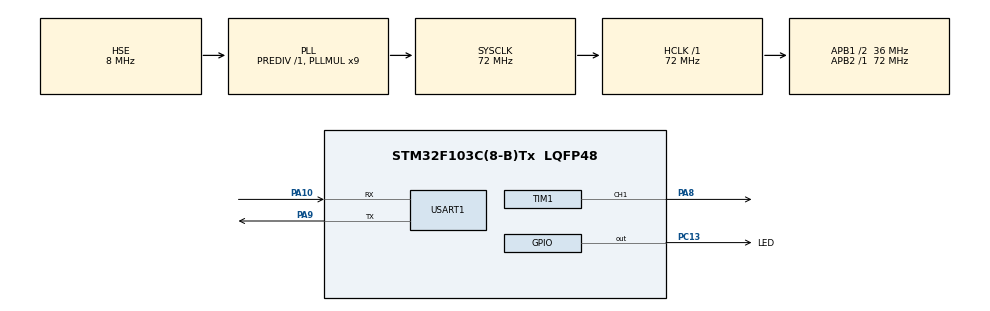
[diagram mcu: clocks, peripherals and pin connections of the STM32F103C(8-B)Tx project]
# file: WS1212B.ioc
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Dma.Request0=TIM1_CH1
Dma.TIM1_CH1.0.Direction=DMA_MEMORY_TO_PERIPH
Dma.TIM1_CH1.0.Instance=DMA1_Channel2
Dma.TIM1_CH1.0.MemDataAlignment=DMA_MDATAALIGN_HALFWORD
Dma.TIM1_CH1.0.MemInc=DMA_MINC_ENABLE
Dma.TIM1_CH1.0.Mode=DMA_NORMAL
Dma.TIM1_CH1.0.PeriphDataAlignment=DMA_PDATAALIGN_HALFWORD
Dma.TIM1_CH1.0.PeriphInc=DMA_PINC_DISABLE
Dma.TIM1_CH1.0.Priority=DMA_PRIORITY_HIGH
FREERTOS.Tasks01=MainTask,0,64,Main_Task,Default,NULL,Dynamic,NULL,NULL;CircularRing,-3,64,CircularRing_Task,Default,NULL,Dynamic,NULL,NULL;HeartBeat,-3,64,HeartBeat_Task,Default,NULL,Dynamic,NULL,NULL;AllColors,-3,64,AllColors_Task,Default,NULL,Dynamic,NULL,NULL;ColorWheel,-3,64,ColorWheel_Task,Default,NULL,Dynamic,NULL,NULL;PatternMove,-3,64,PatternMove_Task,Default,NULL,Dynamic,NULL,NULL;FullEmpty,-3,64,FullEmpty_Task,Default,NULL,Dynamic,NULL,NULL;AlternateColors,-3,64,AlternateColors_Task,Default,NULL,Dynamic,NULL,NULL
FREERTOS.configMINIMAL_STACK_SIZE=64
Mcu.Family=STM32F1
Mcu.Name=STM32F103C(8-B)Tx
Mcu.Package=LQFP48
NVIC.DMA1_Channel2_IRQn=true\:5\:0\:false\:false\:true\:true\:false\:true\:true
NVIC.PriorityGroup=NVIC_PRIORITYGROUP_4
NVIC.TIM1_BRK_IRQn=true\:5\:0\:false\:false\:true\:true\:true\:true\:true
NVIC.TIM1_UP_IRQn=true\:5\:0\:false\:false\:true\:true\:true\:true\:true
NVIC.TIM2_IRQn=true\:15\:0\:false\:false\:true\:false\:true\:true\:true
NVIC.TimeBase=TIM2_IRQn
NVIC.TimeBaseIP=TIM2
PA10.Mode=Asynchronous
PA10.Signal=USART1_RX
PA13.Mode=Serial_Wire
PA13.Signal=SYS_JTMS-SWDIO
PA14.Mode=Serial_Wire
PA14.Signal=SYS_JTCK-SWCLK
PA8.Signal=S_TIM1_CH1
PA9.Mode=Asynchronous
PA9.Signal=USART1_TX
PC13-TAMPER-RTC.GPIO_Label=LED
PC13-TAMPER-RTC.Signal=GPIO_Output
PC13-TAMPER-RTC.Stacked=true
PD0-OSC_IN.Mode=HSE-External-Oscillator
PD0-OSC_IN.Signal=RCC_OSC_IN
PD1-OSC_OUT.Mode=HSE-External-Oscillator
PD1-OSC_OUT.Signal=RCC_OSC_OUT
ProjectManager.HeapSize=0x200
ProjectManager.StackSize=0x400
ProjectManager.TargetToolchain=MDK-ARM V5.32
RCC.AHBFreq_Value=72000000
RCC.APB1CLKDivider=RCC_HCLK_DIV2
RCC.APB1Freq_Value=36000000
RCC.APB1TimFreq_Value=72000000
RCC.APB2Freq_Value=72000000
RCC.APB2TimFreq_Value=72000000
RCC.HCLKFreq_Value=72000000
RCC.PLLMUL=RCC_PLL_MUL9
RCC.PLLSourceVirtual=RCC_PLLSOURCE_HSE
RCC.SYSCLKFreq_VALUE=72000000
RCC.SYSCLKSource=RCC_SYSCLKSOURCE_PLLCLK
RCC.USBFreq_Value=72000000
SH.S_TIM1_CH1.0=TIM1_CH1,PWM Generation1 CH1
TIM1.Channel-PWM\ Generation1\ CH1=TIM_CHANNEL_1
TIM1.Period=90-1
USART1.VirtualMode=VM_ASYNC
VP_FREERTOS_VS_CMSIS_V1.Mode=CMSIS_V1
VP_SYS_VS_tim2.Mode=TIM2
VP_TIM1_VS_ClockSourceINT.Mode=Internal
board=custom

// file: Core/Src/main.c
/* USER CODE BEGIN Header */
/**
  ******************************************************************************
  * @file           : main.c
  * @brief          : Main program body
  ******************************************************************************
  * @attention
  *
  * Copyright (c) 2022 STMicroelectronics.
  * All rights reserved.
  *
  * This software is licensed under terms that can be found in the LICENSE file
  * in the root directory of this software component.
  * If no LICENSE file comes with this software, it is provided AS-IS.
  *
  ******************************************************************************
  */
/* USER CODE END Header */
#include "main.h"
#include "cmsis_os.h"
#include "dma.h"
#include "tim.h"
#include "usart.h"
#include "gpio.h"

void SystemClock_Config(void);
void MX_FREERTOS_Init(void);

int main(void)
{

  /* MCU Configuration--------------------------------------------------------*/

  /* Reset of all peripherals, Initializes the Flash interface and the Systick. */
  HAL_Init();

  /* Configure the system clock */
  SystemClock_Config();

  /* Initialize all configured peripherals */
  MX_GPIO_Init();
  MX_DMA_Init();
  MX_USART1_UART_Init();
  MX_TIM1_Init();

  /* Call init function for freertos objects (in freertos.c) */
  MX_FREERTOS_Init();

  /* Start scheduler */
  osKernelStart();

  /* We should never get here as control is now taken by the scheduler */
  /* Infinite loop */
  while (1)
  {

  }
}

void SystemClock_Config(void)
{
  RCC_OscInitTypeDef RCC_OscInitStruct = {0};
  RCC_ClkInitTypeDef RCC_ClkInitStruct = {0};

  /** Initializes the RCC Oscillators according to the specified parameters
  * in the RCC_OscInitTypeDef structure.
  */
  RCC_OscInitStruct.OscillatorType = RCC_OSCILLATORTYPE_HSE;
  RCC_OscInitStruct.HSEState = RCC_HSE_ON;
  RCC_OscInitStruct.HSEPredivValue = RCC_HSE_PREDIV_DIV1;
  RCC_OscInitStruct.HSIState = RCC_HSI_ON;
  RCC_OscInitStruct.PLL.PLLState = RCC_PLL_ON;
  RCC_OscInitStruct.PLL.PLLSource = RCC_PLLSOURCE_HSE;
  RCC_OscInitStruct.PLL.PLLMUL = RCC_PLL_MUL9;
  if (HAL_RCC_OscConfig(&RCC_OscInitStruct) != HAL_OK)
  {
    Error_Handler();
  }

  /** Initializes the CPU, AHB and APB buses clocks
  */
  RCC_ClkInitStruct.ClockType = RCC_CLOCKTYPE_HCLK|RCC_CLOCKTYPE_SYSCLK
                              |RCC_CLOCKTYPE_PCLK1|RCC_CLOCKTYPE_PCLK2;
  RCC_ClkInitStruct.SYSCLKSource = RCC_SYSCLKSOURCE_PLLCLK;
  RCC_ClkInitStruct.AHBCLKDivider = RCC_SYSCLK_DIV1;
  RCC_ClkInitStruct.APB1CLKDivider = RCC_HCLK_DIV2;
  RCC_ClkInitStruct.APB2CLKDivider = RCC_HCLK_DIV1;

  if (HAL_RCC_ClockConfig(&RCC_ClkInitStruct, FLASH_LATENCY_2) != HAL_OK)
  {
    Error_Handler();
  }
}

void HAL_TIM_PeriodElapsedCallback(TIM_HandleTypeDef *htim)
{
  if (htim->Instance == TIM2) {
    HAL_IncTick();
  }
}

void Error_Handler(void)
{
  __disable_irq();
  while (1)
  {
  }
}

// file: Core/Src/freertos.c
/* USER CODE BEGIN Header */
/**
  ******************************************************************************
  * File Name          : freertos.c
  * Description        : Code for freertos applications
  ******************************************************************************
  * @attention
  *
  * Copyright (c) 2022 STMicroelectronics.
  * All rights reserved.
  *
  * This software is licensed under terms that can be found in the LICENSE file
  * in the root directory of this software component.
  * If no LICENSE file comes with this software, it is provided AS-IS.
  *
  ******************************************************************************
  */
/* USER CODE END Header */

#include "FreeRTOS.h"
#include "task.h"
#include "main.h"
#include "cmsis_os.h"

/* USER CODE BEGIN Includes */
#include "stripEffects.h"
/* USER CODE END Includes */

osThreadId MainTaskHandle;
osThreadId CircularRingHandle;
osThreadId HeartBeatHandle;
osThreadId AllColorsHandle;
osThreadId ColorWheelHandle;
osThreadId PatternMoveHandle;
osThreadId FullEmptyHandle;
osThreadId AlternateColorsHandle;

void Main_Task(void const * argument);
void CircularRing_Task(void const * argument);
void HeartBeat_Task(void const * argument);
void AllColors_Task(void const * argument);
void ColorWheel_Task(void const * argument);
void PatternMove_Task(void const * argument);
void FullEmpty_Task(void const * argument);
void AlternateColors_Task(void const * argument);

void MX_FREERTOS_Init(void); /* (MISRA C 2004 rule 8.1) */

/* GetIdleTaskMemory prototype (linked to static allocation support) */
void vApplicationGetIdleTaskMemory( StaticTask_t **ppxIdleTaskTCBBuffer, StackType_t **ppxIdleTaskStackBuffer, uint32_t *pulIdleTaskStackSize );

/* USER CODE BEGIN GET_IDLE_TASK_MEMORY */
static StaticTask_t xIdleTaskTCBBuffer;
static StackType_t xIdleStack[configMINIMAL_STACK_SIZE];

void vApplicationGetIdleTaskMemory( StaticTask_t **ppxIdleTaskTCBBuffer, StackType_t **ppxIdleTaskStackBuffer, uint32_t *pulIdleTaskStackSize )
{
  *ppxIdleTaskTCBBuffer = &xIdleTaskTCBBuffer;
  *ppxIdleTaskStackBuffer = &xIdleStack[0];
  *pulIdleTaskStackSize = configMINIMAL_STACK_SIZE;
  /* place for user code */
}
/* USER CODE END GET_IDLE_TASK_MEMORY */

void MX_FREERTOS_Init(void) {

  /* Create the thread(s) */
  /* definition and creation of MainTask */
  osThreadDef(MainTask, Main_Task, osPriorityNormal, 0, 64);
  MainTaskHandle = osThreadCreate(osThread(MainTask), NULL);

  /* definition and creation of CircularRing */
  osThreadDef(CircularRing, CircularRing_Task, osPriorityIdle, 0, 64);
  CircularRingHandle = osThreadCreate(osThread(CircularRing), NULL);

  /* definition and creation of HeartBeat */
  osThreadDef(HeartBeat, HeartBeat_Task, osPriorityIdle, 0, 64);
  HeartBeatHandle = osThreadCreate(osThread(HeartBeat), NULL);

  /* definition and creation of AllColors */
  osThreadDef(AllColors, AllColors_Task, osPriorityIdle, 0, 64);
  AllColorsHandle = osThreadCreate(osThread(AllColors), NULL);

  /* definition and creation of ColorWheel */
  osThreadDef(ColorWheel, ColorWheel_Task, osPriorityIdle, 0, 64);
  ColorWheelHandle = osThreadCreate(osThread(ColorWheel), NULL);

  /* definition and creation of PatternMove */
  osThreadDef(PatternMove, PatternMove_Task, osPriorityIdle, 0, 64);
  PatternMoveHandle = osThreadCreate(osThread(PatternMove), NULL);

  /* definition and creation of FullEmpty */
  osThreadDef(FullEmpty, FullEmpty_Task, osPriorityIdle, 0, 64);
  FullEmptyHandle = osThreadCreate(osThread(FullEmpty), NULL);

  /* definition and creation of AlternateColors */
  osThreadDef(AlternateColors, AlternateColors_Task, osPriorityIdle, 0, 64);
  AlternateColorsHandle = osThreadCreate(osThread(AlternateColors), NULL);

  /* USER CODE BEGIN RTOS_THREADS */
  /* add threads, ... */

	//КЧПИПИ№ТЖрЛщУРИООс
	//vTaskSuspend(CircularRingHandle);
	vTaskSuspend(HeartBeatHandle);
	vTaskSuspend(AllColorsHandle);
	vTaskSuspend(ColorWheelHandle);
	vTaskSuspend(PatternMoveHandle);
	vTaskSuspend(FullEmptyHandle);
	vTaskSuspend(AlternateColorsHandle);
  /* USER CODE END RTOS_THREADS */

}

void Main_Task(void const * argument)
{
  /* USER CODE BEGIN Main_Task */
  /* Infinite loop */
  for(;;)
  {
    osDelay(5000);
  }
  /* USER CODE END Main_Task */
}

void CircularRing_Task(void const * argument)
{
  /* USER CODE BEGIN CircularRing_Task */
  /* Infinite loop */
  for(;;)
  {

    stripEffect_CircularRing(50, 0, 0, 20);
	vTaskDelay(10000);
	vTaskResume(HeartBeatHandle);
	vTaskSuspend(CircularRingHandle);
  }
  /* USER CODE END CircularRing_Task */
}

void HeartBeat_Task(void const * argument)
{
  /* USER CODE BEGIN HeartBeat_Task */
  /* Infinite loop */
  for(;;)
  {
    stripEffect_HeartBeat(700, 64, 0, 16);
	vTaskDelay(10000);
	  vTaskResume(AllColorsHandle);
	vTaskSuspend(HeartBeatHandle);
  }
  /* USER CODE END HeartBeat_Task */
}

void AllColors_Task(void const * argument)
{
  /* USER CODE BEGIN AllColors_Task */
  /* Infinite loop */
  for(;;)
  {
    stripEffect_AllColors(10);
	vTaskDelay(10000);
	  vTaskResume(ColorWheelHandle);
	vTaskSuspend(AllColorsHandle);
  }
  /* USER CODE END AllColors_Task */
}

void ColorWheel_Task(void const * argument)
{
  /* USER CODE BEGIN ColorWheel_Task */
  /* Infinite loop */
  for(;;)
  {
    stripEffect_ColorWheel(50);
	vTaskDelay(10000);
	  vTaskResume(PatternMoveHandle);
	vTaskSuspend(ColorWheelHandle);
  }
  /* USER CODE END ColorWheel_Task */
}

void PatternMove_Task(void const * argument)
{
  /* USER CODE BEGIN PatternMove_Task */
  /* Infinite loop */
  for(;;)
  {
    stripEffect_PatternMove(50, 2, 10, 10, 10);
	vTaskDelay(10000);
	  vTaskResume(FullEmptyHandle);
	vTaskSuspend(PatternMoveHandle);
  }
  /* USER CODE END PatternMove_Task */
}

void FullEmpty_Task(void const * argument)
{
  /* USER CODE BEGIN FullEmpty_Task */
  /* Infinite loop */
  for(;;)
  {
    stripEffect_FullEmpty(50, 20, 20, 20);
	vTaskDelay(10000);
	  vTaskResume(AlternateColorsHandle);
	vTaskSuspend(FullEmptyHandle);
  }
  /* USER CODE END FullEmpty_Task */
}

void AlternateColors_Task(void const * argument)
{
  /* USER CODE BEGIN AlternateColors_Task */
  /* Infinite loop */
  for(;;)
  {
    stripEffect_AlternateColors(1000, 10, 50, 0, 0, 0, 0, 50);
	vTaskDelay(10000);
	  vTaskResume(CircularRingHandle);
	vTaskSuspend(AlternateColorsHandle);
  }
  /* USER CODE END AlternateColors_Task */
}

/* USER CODE BEGIN Application */

void vTimerUpdateCallback(TimerHandle_t pxTimer) {
	ws2812_update();
}
/* USER CODE END Application */
